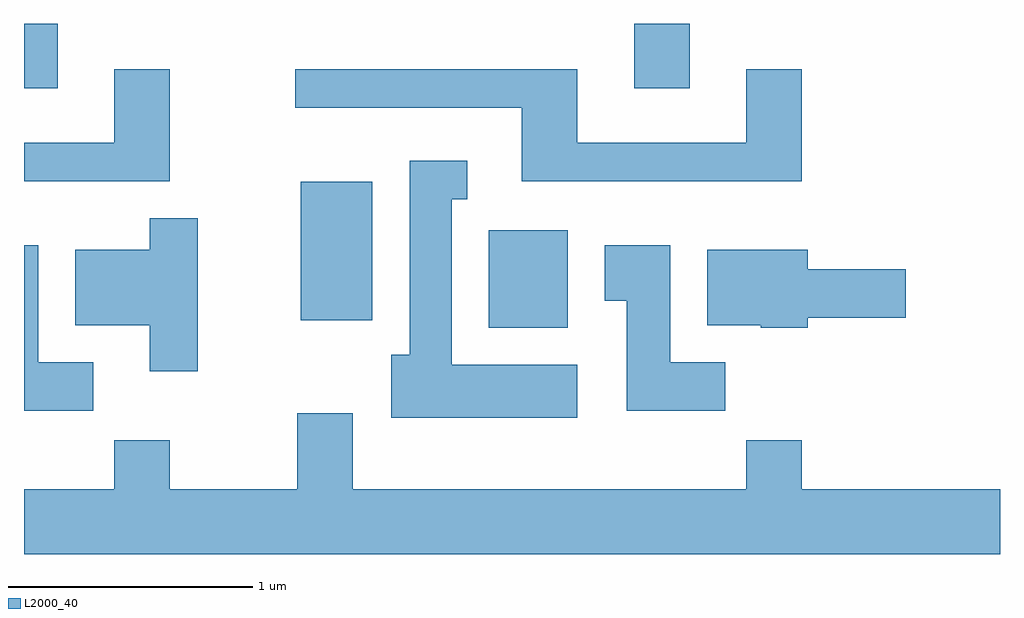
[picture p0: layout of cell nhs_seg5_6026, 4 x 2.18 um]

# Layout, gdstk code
import gdstk
lib = gdstk.Library(unit=1e-6, precision=1e-09)
def R(c, l, rs):  # rectangles x0, y0, x1, y1
    for r in rs: c.add(gdstk.rectangle(r[:2], r[2:], *l))
def P(c, l, *ps):  # polygons
    for p in ps: c.add(gdstk.Polygon(p, *l))
L2000_40 = (2000, 40)

nhs_seg5_6026 = lib.new_cell('nhs_seg5_6026')
R(nhs_seg5_6026, L2000_40, [(365.516,1468.826,365.839,1469.224), (364.746,1468.856,365.039,1469.424), (363.611,1469.806,363.749,1470.072), (366.111,1469.806,366.339,1470.072)])
P(nhs_seg5_6026, L2000_40, [(364.209,1469.884),(363.981,1469.884),(363.981,1469.584),(363.611,1469.584),(363.611,1469.426),(364.209,1469.426)],
  [(366.799,1469.884),(366.571,1469.884),(366.571,1469.584),(365.879,1469.584),(365.879,1469.884),(364.723,1469.884),(364.723,1469.726),(365.651,1469.726),(365.651,1469.426),(366.799,1469.426)],
  [(365.879,1468.674),(365.364,1468.674),(365.364,1469.351),(365.428,1469.351),(365.428,1469.509),(365.191,1469.509),(365.191,1468.714),(365.116,1468.714),(365.116,1468.456),(365.879,1468.456)],
  [(364.324,1469.274),(364.126,1469.274),(364.126,1469.144),(363.821,1469.144),(363.821,1468.836),(364.126,1468.836),(364.126,1468.646),(364.324,1468.646)],
  [(363.894,1468.684),(363.669,1468.684),(363.669,1469.164),(363.611,1469.164),(363.611,1468.486),(363.894,1468.486)],
  [(366.484,1468.684),(366.259,1468.684),(366.259,1469.164),(365.991,1469.164),(365.991,1468.936),(366.081,1468.936),(366.081,1468.486),(366.484,1468.486)],
  [(366.824,1468.866),(367.224,1468.866),(367.224,1469.064),(366.824,1469.064),(366.824,1469.144),(366.411,1469.144),(366.411,1468.836),(366.63,1468.836),(366.63,1468.826),(366.824,1468.826)],
  [(367.611,1468.164),(366.799,1468.164),(366.799,1468.364),(366.571,1468.364),(366.571,1468.164),(364.959,1468.164),(364.959,1468.474),(364.731,1468.474),(364.731,1468.164),(364.209,1468.164),(364.209,1468.364),(363.981,1468.364),(363.981,1468.164),(363.611,1468.164),(363.611,1467.896),(367.611,1467.896)])

lib.write_gds('nhs_seg5_6026.gds')
